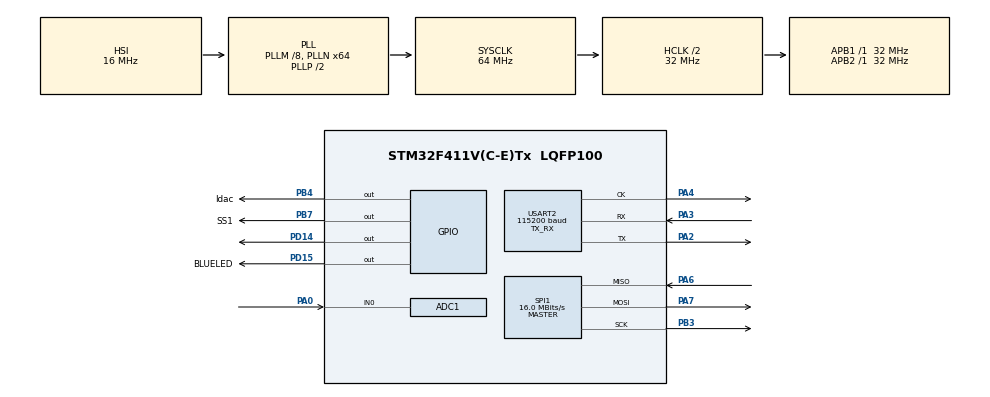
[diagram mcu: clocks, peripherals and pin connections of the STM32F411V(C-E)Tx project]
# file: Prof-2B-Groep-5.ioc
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ADC1.Channel-1\#ChannelRegularConversion=ADC_CHANNEL_0
ADC1.NbrOfConversionFlag=1
ADC1.Rank-1\#ChannelRegularConversion=1
ADC1.Resolution=ADC_RESOLUTION_10B
ADC1.SamplingTime-1\#ChannelRegularConversion=ADC_SAMPLETIME_3CYCLES
ADC1.master=1
Mcu.Family=STM32F4
Mcu.Name=STM32F411V(C-E)Tx
Mcu.Package=LQFP100
NVIC.ADC_IRQn=true\:0\:0\:false\:false\:true\:true\:true\:true
NVIC.PriorityGroup=NVIC_PRIORITYGROUP_4
NVIC.TIM2_IRQn=true\:0\:0\:false\:false\:true\:true\:true\:true
PA0-WKUP.Signal=ADCx_IN0
PA2.Mode=Synchronous
PA2.Signal=USART2_TX
PA3.Mode=Synchronous
PA3.Signal=USART2_RX
PA4.Mode=Synchronous
PA4.Signal=USART2_CK
PA6.Mode=Full_Duplex_Master
PA6.Signal=SPI1_MISO
PA7.Mode=Full_Duplex_Master
PA7.Signal=SPI1_MOSI
PB3.Mode=Full_Duplex_Master
PB3.Signal=SPI1_SCK
PB4.GPIO_Label=ldac
PB4.Signal=GPIO_Output
PB7.GPIO_Label=SS1
PB7.Signal=GPIO_Output
PD14.Signal=GPIO_Output
PD15.GPIO_Label=BLUELED
PD15.Signal=GPIO_Output
ProjectManager.HeapSize=0x200
ProjectManager.StackSize=0x400
ProjectManager.TargetToolchain=STM32CubeIDE
RCC.48MHZClocksFreq_Value=32000000
RCC.AHBCLKDivider=RCC_SYSCLK_DIV2
RCC.AHBFreq_Value=32000000
RCC.APB1Freq_Value=32000000
RCC.APB1TimFreq_Value=32000000
RCC.APB2Freq_Value=32000000
RCC.APB2TimFreq_Value=32000000
RCC.CortexFreq_Value=32000000
RCC.HCLKFreq_Value=32000000
RCC.HSE_VALUE=25000000
RCC.HSI_VALUE=16000000
RCC.LSE_VALUE=32768
RCC.PLLM=8
RCC.PLLN=64
RCC.SYSCLKFreq_VALUE=64000000
RCC.SYSCLKSource=RCC_SYSCLKSOURCE_PLLCLK
RCC.VCOOutputFreq_Value=128000000
SH.ADCx_IN0.0=ADC1_IN0,IN0
SPI1.CalculateBaudRate=16.0 MBits/s
SPI1.Direction=SPI_DIRECTION_2LINES
SPI1.Mode=SPI_MODE_MASTER
SPI1.VirtualType=VM_MASTER
TIM2.AutoReloadPreload=TIM_AUTORELOAD_PRELOAD_ENABLE
TIM2.Period=50
TIM2.Prescaler=32
USART2.BaudRate=115200
USART2.CLKLastBit=USART_LASTBIT_ENABLE
USART2.Mode=MODE_TX_RX
USART2.VirtualMode=VM_SYNC
USART2.WordLength=WORDLENGTH_8B
VP_TIM2_VS_ClockSourceINT.Mode=Internal
board=custom

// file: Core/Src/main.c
/* USER CODE BEGIN Header */
/**
  ******************************************************************************
  * @file           : main.c
  * @brief          : Main program body
  ******************************************************************************
  * @attention
  *
  * Copyright (c) 2022 STMicroelectronics.
  * All rights reserved.
  *
  * This software is licensed under terms that can be found in the LICENSE file
  * in the root directory of this software component.
  * If no LICENSE file comes with this software, it is provided AS-IS.
  *
  ******************************************************************************
  */
/* USER CODE END Header */
#include "main.h"

/* USER CODE BEGIN Includes */
#include "settings.h"
#include "dft.h"

/* USER CODE END Includes */

ADC_HandleTypeDef hadc1;

SPI_HandleTypeDef hspi1;

TIM_HandleTypeDef htim2;

USART_HandleTypeDef husart2;

void SystemClock_Config(void);
static void MX_GPIO_Init(void);
static void MX_TIM2_Init(void);
static void MX_ADC1_Init(void);
static void MX_SPI1_Init(void);
static void MX_USART2_Init(void);

/* USER CODE BEGIN 0 */
float buffer[buffersize];
uint32_t pos = 0;
int dft_waarde=0;
float f1000hz = 0;
float f2031hz = 0;
float f3000hz = 0;
float f4000hz = 0;
int last3;
int last1;
int last2;
int last4;
int X_waarde = 64;//0-640 (links 0)
int Y_waarde = 0;//0-480 (boven 0)
uint8_t Sprite_kleur = 0;

/* USER CODE END 0 */

int main(void)
{

  /* MCU Configuration--------------------------------------------------------*/

  /* Reset of all peripherals, Initializes the Flash interface and the Systick. */
  HAL_Init();

  /* Configure the system clock */
  SystemClock_Config();

  /* Initialize all configured peripherals */
  MX_GPIO_Init();
  MX_TIM2_Init();
  MX_ADC1_Init();
  MX_SPI1_Init();
  MX_USART2_Init();
  /* USER CODE BEGIN 2 */
  HAL_TIM_Base_Start_IT(&htim2);
  /* USER CODE END 2 */

  /* Infinite loop */
  /* USER CODE BEGIN WHILE */
  while (1)
  {

	  Y_waarde = Y_waarde + 1;
	  if (Y_waarde == 608) Y_waarde = 0;

	  if (dft_waarde == 1){
		  f2031hz = dft(12);
		  f1000hz = dft(6);
		  f3000hz = dft(21);
		  f4000hz = dft(26);
		  dft_waarde = 0;

	  //kies x waarde 64-224-384-544
		  Sprite_kleur = 0;

		  if (f1000hz >= 200){//1kHz ingedrukt
			  if (last1 ==0)
			  {
				  if((Y_waarde >350) && (Y_waarde< 410) )//sprite in de witte balk
				  {
					  Sprite_kleur += 64;//kleur wordt groen
					  void display_send();

				  }
				  else
				  {
					  Sprite_kleur+= 128;//kleur wordt rood
					  void display_send();
//					  for(int k=0; k<10;k++)//laat de sprite trillen
//					  {
//						 X_waarde = X_waarde + 5;
//						 void display_send();
//						 HAL_Delay(80);
//						 X_waarde = X_waarde - 5;
//						 void display_send();
//						 HAL_Delay(80);
//					  }
					  Y_waarde=0;//begin weer opnieuw
				  }

				 last1 = 1;
			  }
		  }
		  else last1 = 0;

		  if (f2031hz >= 200){//2kHz ingedrukt
			  if (last2 == 0)
			  {
				  if((Y_waarde >350) && (Y_waarde< 410) )//sprite in de witte balk
				  {
					  Sprite_kleur+= 16;//kleur wordt groen
					  void display_send();

				  }
				  else
				  {
					  Sprite_kleur+= 32;//kleur wordt rood
					  void display_send();
//					  for(int k=0; k<10;k++)//laat de sprite trillen
//					  {
//						 X_waarde = X_waarde + 5;
//						 void display_send();
//						 HAL_Delay(200);
//						 X_waarde = X_waarde - 5;
//						 void display_send();
//						 HAL_Delay(80);
//					  }
					  Y_waarde=0;
				  }

				  last2 = 1;
			  }
		  }
		  else last2 = 0;

		  if (f3000hz >= 200){//3kHz ingedrukt
			  if (last3 == 0)
			  {
				  if((Y_waarde >350) && (Y_waarde< 410) )//sprite in de witte balk
				  {
					  Sprite_kleur+= 4;//kleur wordt groen
					  void display_send();

				  }
				  else
				  {
					  Sprite_kleur+= 8;//kleur wordt rood
					  void display_send();
//					  for(int k=0; k<10;k++)//laat de sprite trillen
//					  {
//						 X_waarde = X_waarde + 5;
//						 void display_send();
//						 HAL_Delay(200);
//						 X_waarde = X_waarde - 5;
//						 void display_send();
//						 HAL_Delay(80);
//					  }
					  Y_waarde=0;
				  }

			  	  last3 = 1;
			  }
		  }
		  else last3 = 0;

		  if (f4000hz >= 200){//4kHz ingedrukt
			  if (last4 ==0)
			  {
				  if((Y_waarde >350) && (Y_waarde< 410) )//sprite in de witte balk
				  {
					  Sprite_kleur+= 1;//kleur wordt groen
					  void display_send();

				  }
				  else
				  {
					  Sprite_kleur+= 2;//kleur wordt rood
					  void display_send();
//					  for(int k=0; k<10;k++)//laat de sprute trillen
//					  {
//						 X_waarde = X_waarde + 5;
//						 void display_send();
//						 HAL_Delay(200);
//						 X_waarde = X_waarde - 5;
//						 void display_send();
//						 HAL_Delay(80);
//					  }
					  Y_waarde=0;
				  }

				  last4 = 1;
			  }
		  }
		  else last4 = 0;

	  }

	 //uint8_t outputbuf[] = {(round(f1000hz))/2,(round(f2031hz))/2, (round(f3000hz))/2, (round(f4000hz))/2 };
	  uint8_t outputbuf[] = {X_waarde/3, Y_waarde/3, Sprite_kleur};
	  HAL_USART_Transmit(&husart2, outputbuf, sizeof(outputbuf), HAL_MAX_DELAY);

    /* USER CODE END WHILE */

  }
}

void SystemClock_Config(void)
{
  RCC_OscInitTypeDef RCC_OscInitStruct = {0};
  RCC_ClkInitTypeDef RCC_ClkInitStruct = {0};

  /** Configure the main internal regulator output voltage
  */
  __HAL_RCC_PWR_CLK_ENABLE();
  __HAL_PWR_VOLTAGESCALING_CONFIG(PWR_REGULATOR_VOLTAGE_SCALE1);

  /** Initializes the RCC Oscillators according to the specified parameters
  * in the RCC_OscInitTypeDef structure.
  */
  RCC_OscInitStruct.OscillatorType = RCC_OSCILLATORTYPE_HSI;
  RCC_OscInitStruct.HSIState = RCC_HSI_ON;
  RCC_OscInitStruct.HSICalibrationValue = RCC_HSICALIBRATION_DEFAULT;
  RCC_OscInitStruct.PLL.PLLState = RCC_PLL_ON;
  RCC_OscInitStruct.PLL.PLLSource = RCC_PLLSOURCE_HSI;
  RCC_OscInitStruct.PLL.PLLM = 8;
  RCC_OscInitStruct.PLL.PLLN = 64;
  RCC_OscInitStruct.PLL.PLLP = RCC_PLLP_DIV2;
  RCC_OscInitStruct.PLL.PLLQ = 4;
  if (HAL_RCC_OscConfig(&RCC_OscInitStruct) != HAL_OK)
  {
    Error_Handler();
  }

  /** Initializes the CPU, AHB and APB buses clocks
  */
  RCC_ClkInitStruct.ClockType = RCC_CLOCKTYPE_HCLK|RCC_CLOCKTYPE_SYSCLK
                              |RCC_CLOCKTYPE_PCLK1|RCC_CLOCKTYPE_PCLK2;
  RCC_ClkInitStruct.SYSCLKSource = RCC_SYSCLKSOURCE_PLLCLK;
  RCC_ClkInitStruct.AHBCLKDivider = RCC_SYSCLK_DIV2;
  RCC_ClkInitStruct.APB1CLKDivider = RCC_HCLK_DIV1;
  RCC_ClkInitStruct.APB2CLKDivider = RCC_HCLK_DIV1;

  if (HAL_RCC_ClockConfig(&RCC_ClkInitStruct, FLASH_LATENCY_1) != HAL_OK)
  {
    Error_Handler();
  }
}

static void MX_ADC1_Init(void)
{

  ADC_ChannelConfTypeDef sConfig = {0};

  /** Configure the global features of the ADC (Clock, Resolution, Data Alignment and number of conversion)
  */
  hadc1.Instance = ADC1;
  hadc1.Init.ClockPrescaler = ADC_CLOCK_SYNC_PCLK_DIV2;
  hadc1.Init.Resolution = ADC_RESOLUTION_10B;
  hadc1.Init.ScanConvMode = DISABLE;
  hadc1.Init.ContinuousConvMode = DISABLE;
  hadc1.Init.DiscontinuousConvMode = DISABLE;
  hadc1.Init.ExternalTrigConvEdge = ADC_EXTERNALTRIGCONVEDGE_NONE;
  hadc1.Init.ExternalTrigConv = ADC_SOFTWARE_START;
  hadc1.Init.DataAlign = ADC_DATAALIGN_RIGHT;
  hadc1.Init.NbrOfConversion = 1;
  hadc1.Init.DMAContinuousRequests = DISABLE;
  hadc1.Init.EOCSelection = ADC_EOC_SINGLE_CONV;
  if (HAL_ADC_Init(&hadc1) != HAL_OK)
  {
    Error_Handler();
  }

  /** Configure for the selected ADC regular channel its corresponding rank in the sequencer and its sample time.
  */
  sConfig.Channel = ADC_CHANNEL_0;
  sConfig.Rank = 1;
  sConfig.SamplingTime = ADC_SAMPLETIME_3CYCLES;
  if (HAL_ADC_ConfigChannel(&hadc1, &sConfig) != HAL_OK)
  {
    Error_Handler();
  }

}

static void MX_SPI1_Init(void)
{

  /* SPI1 parameter configuration*/
  hspi1.Instance = SPI1;
  hspi1.Init.Mode = SPI_MODE_MASTER;
  hspi1.Init.Direction = SPI_DIRECTION_2LINES;
  hspi1.Init.DataSize = SPI_DATASIZE_8BIT;
  hspi1.Init.CLKPolarity = SPI_POLARITY_LOW;
  hspi1.Init.CLKPhase = SPI_PHASE_1EDGE;
  hspi1.Init.NSS = SPI_NSS_SOFT;
  hspi1.Init.BaudRatePrescaler = SPI_BAUDRATEPRESCALER_2;
  hspi1.Init.FirstBit = SPI_FIRSTBIT_MSB;
  hspi1.Init.TIMode = SPI_TIMODE_DISABLE;
  hspi1.Init.CRCCalculation = SPI_CRCCALCULATION_DISABLE;
  hspi1.Init.CRCPolynomial = 10;
  if (HAL_SPI_Init(&hspi1) != HAL_OK)
  {
    Error_Handler();
  }

}

static void MX_TIM2_Init(void)
{

  TIM_ClockConfigTypeDef sClockSourceConfig = {0};
  TIM_MasterConfigTypeDef sMasterConfig = {0};

  htim2.Instance = TIM2;
  htim2.Init.Prescaler = 32;
  htim2.Init.CounterMode = TIM_COUNTERMODE_UP;
  htim2.Init.Period = 50;
  htim2.Init.ClockDivision = TIM_CLOCKDIVISION_DIV1;
  htim2.Init.AutoReloadPreload = TIM_AUTORELOAD_PRELOAD_ENABLE;
  if (HAL_TIM_Base_Init(&htim2) != HAL_OK)
  {
    Error_Handler();
  }
  sClockSourceConfig.ClockSource = TIM_CLOCKSOURCE_INTERNAL;
  if (HAL_TIM_ConfigClockSource(&htim2, &sClockSourceConfig) != HAL_OK)
  {
    Error_Handler();
  }
  sMasterConfig.MasterOutputTrigger = TIM_TRGO_RESET;
  sMasterConfig.MasterSlaveMode = TIM_MASTERSLAVEMODE_DISABLE;
  if (HAL_TIMEx_MasterConfigSynchronization(&htim2, &sMasterConfig) != HAL_OK)
  {
    Error_Handler();
  }

}

static void MX_USART2_Init(void)
{

  husart2.Instance = USART2;
  husart2.Init.BaudRate = 115200;
  husart2.Init.WordLength = USART_WORDLENGTH_8B;
  husart2.Init.StopBits = USART_STOPBITS_1;
  husart2.Init.Parity = USART_PARITY_NONE;
  husart2.Init.Mode = USART_MODE_TX_RX;
  husart2.Init.CLKPolarity = USART_POLARITY_LOW;
  husart2.Init.CLKPhase = USART_PHASE_1EDGE;
  husart2.Init.CLKLastBit = USART_LASTBIT_ENABLE;
  if (HAL_USART_Init(&husart2) != HAL_OK)
  {
    Error_Handler();
  }

}

static void MX_GPIO_Init(void)
{
  GPIO_InitTypeDef GPIO_InitStruct = {0};

  /* GPIO Ports Clock Enable */
  __HAL_RCC_GPIOA_CLK_ENABLE();
  __HAL_RCC_GPIOD_CLK_ENABLE();
  __HAL_RCC_GPIOB_CLK_ENABLE();

  /*Configure GPIO pin Output Level */
  HAL_GPIO_WritePin(GPIOD, GPIO_PIN_14|BLUELED_Pin, GPIO_PIN_RESET);

  /*Configure GPIO pin Output Level */
  HAL_GPIO_WritePin(GPIOB, ldac_Pin|SS1_Pin, GPIO_PIN_RESET);

  /*Configure GPIO pins : PD14 BLUELED_Pin */
  GPIO_InitStruct.Pin = GPIO_PIN_14|BLUELED_Pin;
  GPIO_InitStruct.Mode = GPIO_MODE_OUTPUT_PP;
  GPIO_InitStruct.Pull = GPIO_NOPULL;
  GPIO_InitStruct.Speed = GPIO_SPEED_FREQ_LOW;
  HAL_GPIO_Init(GPIOD, &GPIO_InitStruct);

  /*Configure GPIO pins : ldac_Pin SS1_Pin */
  GPIO_InitStruct.Pin = ldac_Pin|SS1_Pin;
  GPIO_InitStruct.Mode = GPIO_MODE_OUTPUT_PP;
  GPIO_InitStruct.Pull = GPIO_NOPULL;
  GPIO_InitStruct.Speed = GPIO_SPEED_FREQ_LOW;
  HAL_GPIO_Init(GPIOB, &GPIO_InitStruct);

}

/* USER CODE BEGIN 4 */
	void HAL_TIM_PeriodElapsedCallback(TIM_HandleTypeDef* htim)
	{
		HAL_GPIO_TogglePin(GPIOD, BLUELED_Pin);

		if (htim == &htim2)
		{
			pos++;
			buffer[(pos-1)] = HAL_ADC_GetValue(&hadc1);
			HAL_ADC_Start(&hadc1);
			if (pos > buffersize)
				{
				dft_waarde = 1;
				pos = 0;

				}

		}
	}

	void display_send()
	{
		  uint8_t outputbuf[] = {X_waarde/3, Y_waarde/3, Sprite_kleur};
		  HAL_USART_Transmit(&husart2, outputbuf, sizeof(outputbuf), HAL_MAX_DELAY);
		  return;
	}

/* USER CODE END 4 */

void Error_Handler(void)
{
  __disable_irq();
  while (1)
  {
  }
}
